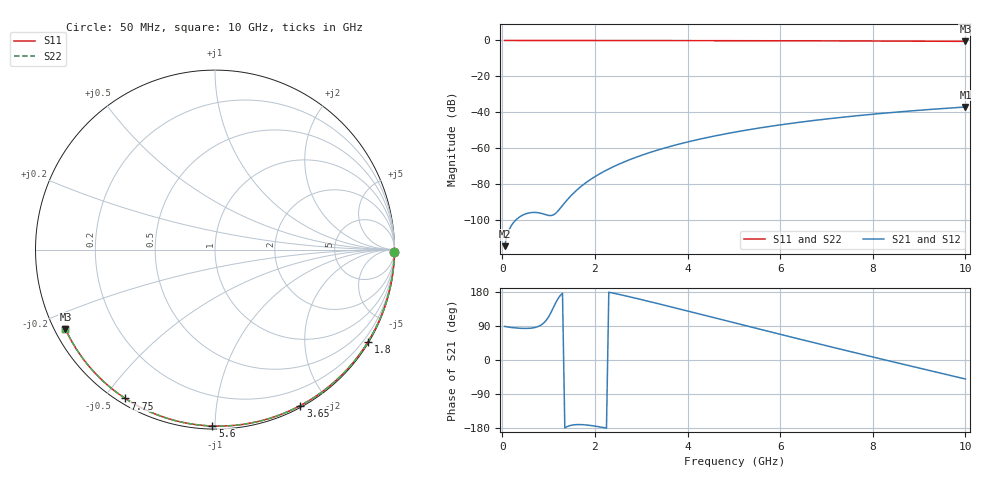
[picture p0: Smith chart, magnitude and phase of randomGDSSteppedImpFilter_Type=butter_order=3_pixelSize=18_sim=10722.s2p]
! freq	dB(S11)	phase(S11)	dB(S12)	phase(S12)
!  dB(S21)	phase(S21)	dB(S22)	phase(S22)
!S-par simulation data
#  GHz  S  DB  R 50
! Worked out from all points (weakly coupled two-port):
!   200 points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, 50 MHz to 10 GHz, reference 50 ohm
!   highest |S21| = -37.00 dB at 10 GHz (marker M1); lowest = -114.3 dB at 50 MHz (marker M2)
!   lowest |S11| = -0.5 dB at 10 GHz (marker M3), VSWR 34.39, Z = 1.54 - j12.4 ohm
!   |S11| at or under -10 dB: nowhere
!   |S22| runs from -0.5 to 0.0 dB; largest |S21 - S12| = 0
!   S11 on the Smith chart (normalised r, x): 50 MHz: open; 1.8 GHz: 0.03, -3.60; 3.65 GHz: 0.02, -1.69; 5.6 GHz: 0.02, -0.99; 7.75 GHz: 0.02, -0.56; 10 GHz: 0.03, -0.25
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0.05  -0.00 -0.9  -114.33 88.7  -114.33 88.7  -0.00 -0.9
0.45  -0.01 -7.9  -96.95 83.4  -96.95 83.4  -0.01 -7.9
0.9  -0.02 -15.7  -96.53 98.2  -96.53 98.2  -0.02 -15.7
1.3  -0.03 -22.5  -91.73 176.3  -91.73 176.3  -0.03 -22.5
1.75  -0.04 -30.2  -80.13 -170.8  -80.13 -170.8  -0.04 -30.2
1.8  -0.04 -31.0  -79.16 -171.3  -79.16 -171.3  -0.04 -31.0
1.95  -0.04 -33.5  -76.51 -173.5  -76.51 -173.5  -0.04 -33.5
2.1  -0.05 -36.1  -74.17 -176.4  -74.17 -176.4  -0.05 -36.1
2.3  -0.05 -39.4  -71.41 178.9  -71.41 178.9  -0.05 -39.4
2.5  -0.05 -42.7  -68.97 173.7  -68.97 173.7  -0.05 -42.7
2.9  -0.06 -49.3  -64.81 162.5  -64.81 162.5  -0.06 -49.3
3.4  -0.08 -57.3  -60.56 147.6  -60.56 147.6  -0.08 -57.3
3.65  -0.08 -61.3  -58.73 140.0  -58.73 140.0  -0.08 -61.3
4.3  -0.10 -71.4  -54.64 120.0  -54.64 120.0  -0.10 -71.4
5.05  -0.13 -82.8  -50.81 96.9  -50.81 96.9  -0.13 -82.7
5.6  -0.15 -90.9  -48.45 80.0  -48.45 80.0  -0.15 -90.9
6.15  -0.18 -98.8  -46.38 63.2  -46.38 63.2  -0.18 -98.8
6.7  -0.21 -106.6  -44.56 46.6  -44.56 46.6  -0.21 -106.6
7.75  -0.28 -121.1  -41.61 15.3  -41.61 15.3  -0.28 -121.1
8.35  -0.33 -129.3  -40.18 -2.3  -40.18 -2.3  -0.33 -129.3
9.2  -0.41 -141.0  -38.41 -27.0  -38.41 -27.0  -0.41 -141.0
10  -0.51 -152.0  -37.00 -50.1  -37.00 -50.1  -0.51 -152.0
